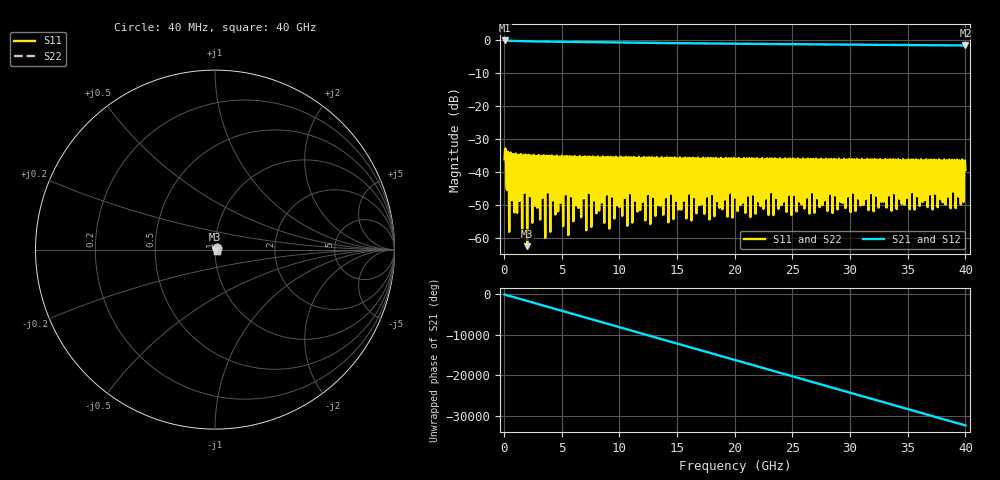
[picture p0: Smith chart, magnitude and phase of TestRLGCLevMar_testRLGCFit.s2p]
! File created by SignalIntegrity v1.1.13: Signal and Power Integrity Tools
! https://github.com/TeledyneLeCroy/SignalIntegrity
# MHz S MA R 50.0
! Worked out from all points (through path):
!   1000 points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, 40 MHz to 40 GHz, reference 50 ohm
!   highest |S21| = -0.09 dB at 40 MHz (marker M1); lowest = -1.6 dB at 40 GHz (marker M2)
!   lowest |S11| = -62.4 dB at 2 GHz (marker M3), VSWR 1.00, Z = 50.1 - j0.0288 ohm
!   |S11| at or under -10 dB: start of sweep to end of sweep
!   |S22| runs from -62.4 to -32.8 dB; largest |S21 - S12| = 0
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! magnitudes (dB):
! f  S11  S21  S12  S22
! 40 MHz  -36.1  -0.1  -0.1  -36.1
! 200 MHz  -43.6  -0.1  -0.1  -43.6
! 240 MHz  -45.3  -0.1  -0.1  -45.3
! 520 MHz  -35.1  -0.2  -0.2  -35.1
! 680 MHz  -48.5  -0.2  -0.2  -48.5
! 2 GHz  -62.4  -0.3  -0.3  -62.4
! 2.68 GHz  -50.2  -0.4  -0.4  -50.2
! 3.32 GHz  -47.8  -0.4  -0.4  -47.8
! 3.44 GHz  -34.9  -0.4  -0.4  -34.9
! 4.16 GHz  -36.9  -0.5  -0.5  -36.9
! 4.24 GHz  -48.6  -0.5  -0.5  -48.6
! 5.68 GHz  -35.1  -0.6  -0.6  -35.1
! 6.72 GHz  -39.3  -0.6  -0.6  -39.3
! 12.8 GHz  -35.5  -0.8  -0.8  -35.5
! 13.36 GHz  -50.0  -0.9  -0.9  -50.0
! 20.04 GHz  -47.7  -1.1  -1.1  -47.7
! 26.68 GHz  -45.9  -1.3  -1.3  -45.9
! 33.36 GHz  -47.1  -1.4  -1.4  -47.1
! 39.72 GHz  -36.2  -1.6  -1.6  -36.2
! 39.8 GHz  -43.2  -1.6  -1.6  -43.2
! 39.88 GHz  -39.8  -1.6  -1.6  -39.8
! 40 GHz  -39.4  -1.6  -1.6  -39.4
